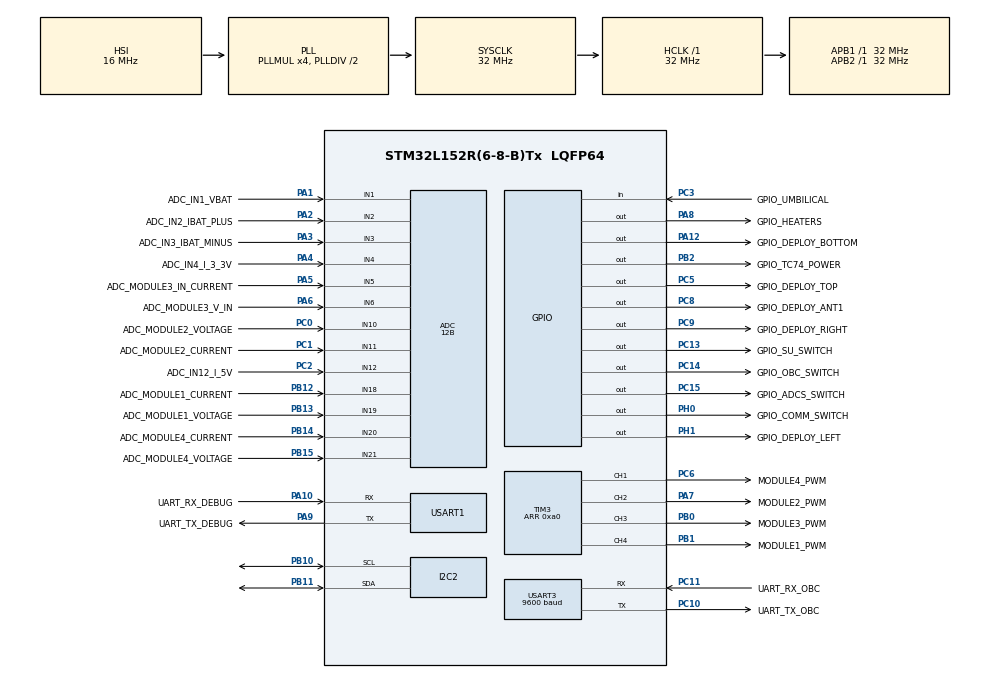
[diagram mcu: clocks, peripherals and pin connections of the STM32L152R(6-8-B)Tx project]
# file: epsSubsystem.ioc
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ADC.Channel-18\#ChannelRegularConversion=ADC_CHANNEL_11
ADC.Channel-19\#ChannelRegularConversion=ADC_CHANNEL_10
ADC.Channel-20\#ChannelRegularConversion=ADC_CHANNEL_5
ADC.Channel-21\#ChannelRegularConversion=ADC_CHANNEL_6
ADC.Channel-22\#ChannelRegularConversion=ADC_CHANNEL_20
ADC.Channel-23\#ChannelRegularConversion=ADC_CHANNEL_21
ADC.Channel-24\#ChannelRegularConversion=ADC_CHANNEL_1
ADC.Channel-25\#ChannelRegularConversion=ADC_CHANNEL_2
ADC.Channel-26\#ChannelRegularConversion=ADC_CHANNEL_3
ADC.Channel-27\#ChannelRegularConversion=ADC_CHANNEL_4
ADC.Channel-28\#ChannelRegularConversion=ADC_CHANNEL_12
ADC.Channel-29\#ChannelRegularConversion=ADC_CHANNEL_TEMPSENSOR
ADC.Channel-4\#ChannelRegularConversion=ADC_CHANNEL_18
ADC.Channel-5\#ChannelRegularConversion=ADC_CHANNEL_19
ADC.ClockPrescaler=ADC_CLOCK_ASYNC_DIV1
ADC.ContinuousConvMode=ENABLE
ADC.DMAContinuousRequests=ENABLE
ADC.DataAlign=ADC_DATAALIGN_RIGHT
ADC.DiscontinuousConvMode=DISABLE
ADC.EOCSelection=ADC_EOC_SINGLE_CONV
ADC.EnableAnalogWatchDog=false
ADC.ExternalTrigConvEdge=ADC_EXTERNALTRIGCONVEDGE_NONE
ADC.InjNumberOfConversion=0
ADC.LowPowerAutoPowerOff=ADC_AUTOPOWEROFF_DISABLE
ADC.LowPowerAutoWait=ADC_AUTOWAIT_DISABLE
ADC.NbrOfConversion=14
ADC.NbrOfConversionFlag=1
ADC.Rank-18\#ChannelRegularConversion=3
ADC.Rank-19\#ChannelRegularConversion=4
ADC.Rank-20\#ChannelRegularConversion=5
ADC.Rank-21\#ChannelRegularConversion=6
ADC.Rank-22\#ChannelRegularConversion=7
ADC.Rank-23\#ChannelRegularConversion=8
ADC.Rank-24\#ChannelRegularConversion=9
ADC.Rank-25\#ChannelRegularConversion=10
ADC.Rank-26\#ChannelRegularConversion=11
ADC.Rank-27\#ChannelRegularConversion=12
ADC.Rank-28\#ChannelRegularConversion=13
ADC.Rank-29\#ChannelRegularConversion=14
ADC.Rank-4\#ChannelRegularConversion=1
ADC.Rank-5\#ChannelRegularConversion=2
ADC.Resolution=ADC_RESOLUTION_12B
ADC.SamplingTime-18\#ChannelRegularConversion=ADC_SAMPLETIME_4CYCLES
ADC.SamplingTime-19\#ChannelRegularConversion=ADC_SAMPLETIME_4CYCLES
ADC.SamplingTime-20\#ChannelRegularConversion=ADC_SAMPLETIME_4CYCLES
ADC.SamplingTime-21\#ChannelRegularConversion=ADC_SAMPLETIME_4CYCLES
ADC.SamplingTime-22\#ChannelRegularConversion=ADC_SAMPLETIME_4CYCLES
ADC.SamplingTime-23\#ChannelRegularConversion=ADC_SAMPLETIME_4CYCLES
ADC.SamplingTime-24\#ChannelRegularConversion=ADC_SAMPLETIME_4CYCLES
ADC.SamplingTime-25\#ChannelRegularConversion=ADC_SAMPLETIME_4CYCLES
ADC.SamplingTime-26\#ChannelRegularConversion=ADC_SAMPLETIME_4CYCLES
ADC.SamplingTime-27\#ChannelRegularConversion=ADC_SAMPLETIME_4CYCLES
ADC.SamplingTime-28\#ChannelRegularConversion=ADC_SAMPLETIME_4CYCLES
ADC.SamplingTime-29\#ChannelRegularConversion=ADC_SAMPLETIME_4CYCLES
ADC.SamplingTime-4\#ChannelRegularConversion=ADC_SAMPLETIME_4CYCLES
ADC.SamplingTime-5\#ChannelRegularConversion=ADC_SAMPLETIME_4CYCLES
ADC.ScanConvMode=ADC_SCAN_ENABLE
Dma.ADC.0.Direction=DMA_PERIPH_TO_MEMORY
Dma.ADC.0.Instance=DMA1_Channel1
Dma.ADC.0.MemDataAlignment=DMA_MDATAALIGN_WORD
Dma.ADC.0.MemInc=DMA_MINC_ENABLE
Dma.ADC.0.Mode=DMA_CIRCULAR
Dma.ADC.0.PeriphDataAlignment=DMA_PDATAALIGN_WORD
Dma.ADC.0.PeriphInc=DMA_PINC_DISABLE
Dma.ADC.0.Priority=DMA_PRIORITY_HIGH
Dma.Request0=ADC
Dma.Request1=USART3_RX
Dma.Request2=USART3_TX
Dma.Request3=USART1_RX
Dma.Request4=USART1_TX
Dma.USART1_RX.3.Direction=DMA_PERIPH_TO_MEMORY
Dma.USART1_RX.3.Instance=DMA1_Channel5
Dma.USART1_RX.3.MemDataAlignment=DMA_MDATAALIGN_BYTE
Dma.USART1_RX.3.MemInc=DMA_MINC_ENABLE
Dma.USART1_RX.3.Mode=DMA_NORMAL
Dma.USART1_RX.3.PeriphDataAlignment=DMA_PDATAALIGN_BYTE
Dma.USART1_RX.3.PeriphInc=DMA_PINC_DISABLE
Dma.USART1_RX.3.Priority=DMA_PRIORITY_LOW
Dma.USART1_TX.4.Direction=DMA_MEMORY_TO_PERIPH
Dma.USART1_TX.4.Instance=DMA1_Channel4
Dma.USART1_TX.4.MemDataAlignment=DMA_MDATAALIGN_BYTE
Dma.USART1_TX.4.MemInc=DMA_MINC_ENABLE
Dma.USART1_TX.4.Mode=DMA_NORMAL
Dma.USART1_TX.4.PeriphDataAlignment=DMA_PDATAALIGN_BYTE
Dma.USART1_TX.4.PeriphInc=DMA_PINC_DISABLE
Dma.USART1_TX.4.Priority=DMA_PRIORITY_LOW
Dma.USART3_RX.1.Direction=DMA_PERIPH_TO_MEMORY
Dma.USART3_RX.1.Instance=DMA1_Channel3
Dma.USART3_RX.1.MemDataAlignment=DMA_MDATAALIGN_BYTE
Dma.USART3_RX.1.MemInc=DMA_MINC_ENABLE
Dma.USART3_RX.1.Mode=DMA_NORMAL
Dma.USART3_RX.1.PeriphDataAlignment=DMA_PDATAALIGN_BYTE
Dma.USART3_RX.1.PeriphInc=DMA_PINC_DISABLE
Dma.USART3_RX.1.Priority=DMA_PRIORITY_LOW
Dma.USART3_TX.2.Direction=DMA_MEMORY_TO_PERIPH
Dma.USART3_TX.2.Instance=DMA1_Channel2
Dma.USART3_TX.2.MemDataAlignment=DMA_MDATAALIGN_BYTE
Dma.USART3_TX.2.MemInc=DMA_MINC_ENABLE
Dma.USART3_TX.2.Mode=DMA_NORMAL
Dma.USART3_TX.2.PeriphDataAlignment=DMA_PDATAALIGN_BYTE
Dma.USART3_TX.2.PeriphInc=DMA_PINC_DISABLE
Dma.USART3_TX.2.Priority=DMA_PRIORITY_LOW
IWDG.Prescaler=IWDG_PRESCALER_4
IWDG.Reload=1364
Mcu.Family=STM32L1
Mcu.Name=STM32L152R(6-8-B)Tx
Mcu.Package=LQFP64
NVIC.ADC1_IRQn=true\:0\:0\:false\:false\:true
NVIC.DMA1_Channel1_IRQn=true\:0\:0\:false\:false\:true
NVIC.DMA1_Channel2_IRQn=true\:0\:0\:false\:false\:true
NVIC.DMA1_Channel3_IRQn=true\:0\:0\:false\:false\:true
NVIC.DMA1_Channel4_IRQn=true\:0\:0\:false\:false\:true
NVIC.DMA1_Channel5_IRQn=true\:0\:0\:false\:false\:true
NVIC.PriorityGroup=NVIC_PRIORITYGROUP_4
NVIC.TIM6_IRQn=true\:0\:0\:false\:false\:true
NVIC.USART1_IRQn=true\:0\:0\:false\:false\:true
NVIC.USART3_IRQn=true\:0\:0\:false\:false\:true
PA1.GPIO_Label=ADC_IN1_VBAT
PA1.Mode=IN1
PA1.Signal=ADC_IN1
PA10.GPIO_Label=UART_RX_DEBUG
PA10.Mode=Asynchronous
PA10.Signal=USART1_RX
PA12.GPIO_Label=GPIO_DEPLOY_BOTTOM
PA12.Signal=GPIO_Output
PA13.Mode=Trace-Asynchronous_SW
PA13.Signal=SYS_JTMS-SWDIO
PA14.Mode=Trace-Asynchronous_SW
PA14.Signal=SYS_JTCK-SWCLK
PA2.GPIO_Label=ADC_IN2_IBAT_PLUS
PA2.Mode=IN2
PA2.Signal=ADC_IN2
PA3.GPIO_Label=ADC_IN3_IBAT_MINUS
PA3.Mode=IN3
PA3.Signal=ADC_IN3
PA4.GPIO_Label=ADC_IN4_I_3_3V
PA4.Mode=IN4
PA4.Signal=ADC_IN4
PA5.GPIO_Label=ADC_MODULE3_IN_CURRENT
PA5.Mode=IN5
PA5.Signal=ADC_IN5
PA6.GPIO_Label=ADC_MODULE3_V_IN
PA6.Mode=IN6
PA6.Signal=ADC_IN6
PA7.GPIO_Label=MODULE2_PWM
PA7.Signal=S_TIM3_CH2
PA8.GPIO_Label=GPIO_HEATERS
PA8.GPIO_PuPd=GPIO_PULLDOWN
PA8.Signal=GPIO_Output
PA9.GPIO_Label=UART_TX_DEBUG
PA9.Mode=Asynchronous
PA9.Signal=USART1_TX
PB0.GPIO_Label=MODULE3_PWM
PB0.Signal=S_TIM3_CH3
PB1.GPIO_Label=MODULE1_PWM
PB1.Signal=S_TIM3_CH4
PB10.GPIO_PuPdOD=GPIO_NOPULL
PB10.GPIO_Speed=GPIO_SPEED_FREQ_LOW
PB10.Mode=I2C
PB10.Signal=I2C2_SCL
PB11.GPIO_PuPdOD=GPIO_NOPULL
PB11.GPIO_Speed=GPIO_SPEED_FREQ_LOW
PB11.Mode=I2C
PB11.Signal=I2C2_SDA
PB12.GPIO_Label=ADC_MODULE1_CURRENT
PB12.Mode=IN18
PB12.Signal=ADC_IN18
PB13.GPIO_Label=ADC_MODULE1_VOLTAGE
PB13.Mode=IN19
PB13.Signal=ADC_IN19
PB14.GPIO_Label=ADC_MODULE4_CURRENT
PB14.Mode=IN20
PB14.Signal=ADC_IN20
PB15.GPIO_Label=ADC_MODULE4_VOLTAGE
PB15.Mode=IN21
PB15.Signal=ADC_IN21
PB2.GPIO_Label=GPIO_TC74_POWER
PB2.Signal=GPIO_Output
PB3.Mode=Trace-Asynchronous_SW
PB3.Signal=SYS_JTDO-TRACESWO
PC0.GPIO_Label=ADC_MODULE2_VOLTAGE
PC0.Mode=IN10
PC0.Signal=ADC_IN10
PC1.GPIO_Label=ADC_MODULE2_CURRENT
PC1.Mode=IN11
PC1.Signal=ADC_IN11
PC10.GPIO_Label=UART_TX_OBC
PC10.Mode=Asynchronous
PC10.Signal=USART3_TX
PC11.GPIO_Label=UART_RX_OBC
PC11.Mode=Asynchronous
PC11.Signal=USART3_RX
PC13-WKUP2.GPIO_Label=GPIO_SU_SWITCH
PC13-WKUP2.Signal=GPIO_Output
PC14-OSC32_IN.GPIO_Label=GPIO_OBC_SWITCH
PC14-OSC32_IN.Signal=GPIO_Output
PC15-OSC32_OUT.GPIO_Label=GPIO_ADCS_SWITCH
PC15-OSC32_OUT.Signal=GPIO_Output
PC2.GPIO_Label=ADC_IN12_I_5V
PC2.Mode=IN12
PC2.Signal=ADC_IN12
PC3.GPIO_Label=GPIO_UMBILICAL
PC3.Signal=GPIO_Input
PC5.GPIO_Label=GPIO_DEPLOY_TOP
PC5.Signal=GPIO_Output
PC6.GPIO_Label=MODULE4_PWM
PC6.Signal=S_TIM3_CH1
PC8.GPIO_Label=GPIO_DEPLOY_ANT1
PC8.Signal=GPIO_Output
PC9.GPIO_Label=GPIO_DEPLOY_RIGHT
PC9.Signal=GPIO_Output
PH0-OSC_IN.GPIO_Label=GPIO_COMM_SWITCH
PH0-OSC_IN.Signal=GPIO_Output
PH1-OSC_OUT.GPIO_Label=GPIO_DEPLOY_LEFT
PH1-OSC_OUT.Signal=GPIO_Output
ProjectManager.HeapSize=0x400
ProjectManager.StackSize=0x200
ProjectManager.TargetToolchain=SW4STM32
RCC.AHBFreq_Value=32000000
RCC.APB1Freq_Value=32000000
RCC.APB1TimFreq_Value=32000000
RCC.APB2Freq_Value=32000000
RCC.APB2TimFreq_Value=32000000
RCC.HCLKFreq_Value=32000000
RCC.HSE_VALUE=24000000
RCC.HSI_VALUE=16000000
RCC.LSE_VALUE=32768
RCC.MSI_VALUE=2097000
RCC.PLLMUL=RCC_PLL_MUL4
RCC.SYSCLKFreq_VALUE=32000000
RCC.SYSCLKSource=RCC_SYSCLKSOURCE_PLLCLK
RCC.USBOutput=32000000
RCC.VCOOutputFreq_Value=64000000
SH.S_TIM3_CH1.0=TIM3_CH1,PWM Generation1 CH1
SH.S_TIM3_CH2.0=TIM3_CH2,PWM Generation2 CH2
SH.S_TIM3_CH3.0=TIM3_CH3,PWM Generation3 CH3
SH.S_TIM3_CH4.0=TIM3_CH4,PWM Generation4 CH4
TIM3.Channel-PWM\ Generation2\ CH2=TIM_CHANNEL_2
TIM3.Channel-PWM\ Generation3\ CH3=TIM_CHANNEL_3
TIM3.Channel-PWM\ Generation4\ CH4=TIM_CHANNEL_4
TIM3.OCFastMode_PWM-PWM\ Generation1\ CH1=TIM_OCFAST_ENABLE
TIM3.OCFastMode_PWM-PWM\ Generation2\ CH2=TIM_OCFAST_ENABLE
TIM3.OCFastMode_PWM-PWM\ Generation3\ CH3=TIM_OCFAST_ENABLE
TIM3.OCFastMode_PWM-PWM\ Generation4\ CH4=TIM_OCFAST_ENABLE
TIM3.Period=0xa0
TIM3.Pulse-PWM\ Generation1\ CH1=0x00
TIM3.Pulse-PWM\ Generation2\ CH2=0x00
TIM3.Pulse-PWM\ Generation3\ CH3=0x00
TIM3.Pulse-PWM\ Generation4\ CH4=0x00
TIM6.Period=50000
TIM6.Prescaler=32
USART3.BaudRate=9600
VP_ADC_TempSens_Input.Mode=IN-TempSens
VP_IWDG_VS_IWDG.Mode=IWDG_Activate
VP_TIM6_VS_ClockSourceINT.Mode=Enable_Timer
board=EpsBoardTest

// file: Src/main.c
/**
 ******************************************************************************
 * File Name          : main.c
 * Description        : Main program body
 ******************************************************************************
 *
 * @file    main.c
 * @author  Aris Stathakis
 * @version V1.0
 * @date    27-May-2016
 * @brief   Main body of EPS subsystem module. The MCU system is initialized
 *          from CUBE MX software thus the generated structure is kept as is.
 *
  ******************************************************************************
  */
#include "stm32l1xx_hal.h"

/* USER CODE BEGIN Includes */
#include "eps_configuration.h"
#include "eps_state.h"
#include "eps_power_module.h"
#include "eps_non_volatile_mem_handling.h"
#include "eps_safety.h"
#include "eps_soft_error_handling.h"
#include "eps_debug.h"
#include "eps_bootsequence.h"
#include "eps_obc_wraps.h"
#include "eps_time.h"
#include "sysview.h"
/* USER CODE END Includes */

ADC_HandleTypeDef hadc;
DMA_HandleTypeDef hdma_adc;

I2C_HandleTypeDef hi2c2;

IWDG_HandleTypeDef hiwdg;

TIM_HandleTypeDef htim3;
TIM_HandleTypeDef htim6;

UART_HandleTypeDef huart1;
UART_HandleTypeDef huart3;
DMA_HandleTypeDef hdma_usart1_rx;
DMA_HandleTypeDef hdma_usart1_tx;
DMA_HandleTypeDef hdma_usart3_rx;
DMA_HandleTypeDef hdma_usart3_tx;

/* USER CODE BEGIN PV */
/* Private variables ---------------------------------------------------------*/
EPS_State eps_board_state;/*global variable that stores the state info of the eps subsystem at any given point in time.*/
EPS_PowerModule power_module_top, power_module_bottom, power_module_left, power_module_right;/*global variables containing the state of four mppt solar power modules.*/
uint8_t uart_temp[200];/* uart buffer for obc communication.*/
/* USER CODE END PV */

void SystemClock_Config(void);
static void MX_GPIO_Init(void);
static void MX_DMA_Init(void);
static void MX_ADC_Init(void);
static void MX_TIM3_Init(void);
static void MX_I2C2_Init(void);
static void MX_USART1_UART_Init(void);
static void MX_USART3_UART_Init(void);
static void MX_TIM6_Init(void);
static void MX_IWDG_Init(void);

void HAL_TIM_MspPostInit(TIM_HandleTypeDef *htim);

/* USER CODE BEGIN PFP */
/* Private function prototypes -----------------------------------------------*/

/* USER CODE END PFP */

int main(void)
{

	/* MCU Configuration----------------------------------------------------------*/

	/* Reset of all peripherals, Initializes the Flash interface and the Systick. */
	HAL_Init();

	/* Configure the system clock */
	SystemClock_Config();

	/* Initialize all configured peripherals */
	MX_GPIO_Init();
	MX_DMA_Init();
	MX_ADC_Init();
	MX_TIM3_Init();
	MX_I2C2_Init();
	MX_USART1_UART_Init();
	MX_USART3_UART_Init();
	MX_TIM6_Init();
	MX_IWDG_Init();

	/* USER CODE BEGIN 2 */
	/*this is used only once to arm the satellite - this should by no means stay in the code.*/
	//EPS_set_flash_memory_initial_values();

	/*start watchdog*/
	HAL_IWDG_Start(&hiwdg);

	/*This will be powered up in get_battery_pack_measurement - good to reset tc74 when reseting the whole system*/
	EPS_set_rail_switch(TEMP_SENSOR, EPS_SWITCH_RAIL_OFF, &eps_board_state);

	/*umbilical check */
	error_status = EPS_bootseq_umbilical_check(&eps_board_state);

	/*power up all rails */
	error_status = EPS_bootseq_poweron_all_rails(&eps_board_state);

	/*obc communication initialization*/
	error_status = EPS_obc_communication_init();

	/* USER CODE END 2 */

	/* Infinite loop */
	/* USER CODE BEGIN WHILE */

	/*load eps limits from memory*/
	EPS_safety_limits eps_limits;
	error_status = EPS_load_safety_limits_from_memory(&eps_limits);

	/* start normal operation mode */

	/*explicitly turn off the battery heater element*/
	EPS_set_control_switch(BATTERY_HEATERS, EPS_SWITCH_CONTROL_OFF, &eps_board_state);

	/* initialize eps module state. */
	error_status = EPS_state_init(&eps_board_state);

	/* initialize all power modules */
	error_status = EPS_PowerModule_init_ALL(&power_module_top, &power_module_bottom, &power_module_left, &power_module_right);

	/*start main loop watchdog*/
	IWDG_change_reset_time(&hiwdg, IWDG_PRESCALER_4, 1900);/*205.409msec*/

	/*kick timer interrupt for timed threads.*/
	error_status = kick_TIM6_timed_interrupt(TIMED_EVENT_PERIOD);

	SEGGER_SYSVIEW_Conf();
	sysview_init();
	while (1)
	{
		/* USER CODE END WHILE */

		/* USER CODE BEGIN 3 */

		error_status = EPS_SOFT_ERROR_WHILE_LOOP_TOP;
		uint32_t time = HAL_sys_GetTick();
		pkt_pool_IDLE(time);
		queue_IDLE(OBC_APP_ID);

		/*service timed thread every TIMED_EVENT_PERIOD microseconds*/
		if(EPS_event_period_status==TIMED_EVENT_NOT_SERVICED){

			/*mppt update for all power modules*/

			/*top power module */
			error_status = EPS_SOFT_ERROR_MPPT_UPDATE_TOP;
			EPS_update_power_module_state(&power_module_top);
			EPS_PowerModule_mppt_update_pwm(&power_module_top);
			EPS_PowerModule_mppt_apply_pwm(&power_module_top);
			/*bottom power module */
			error_status = EPS_SOFT_ERROR_MPPT_UPDATE_BOTTOM;
			EPS_update_power_module_state(&power_module_bottom);
			EPS_PowerModule_mppt_update_pwm(&power_module_bottom);
			EPS_PowerModule_mppt_apply_pwm(&power_module_bottom);
			/*left power module */
			error_status = EPS_SOFT_ERROR_MPPT_UPDATE_LEFT;
			EPS_update_power_module_state(&power_module_left);
			EPS_PowerModule_mppt_update_pwm(&power_module_left);
			EPS_PowerModule_mppt_apply_pwm(&power_module_left);
			/*right power module */
			error_status = EPS_SOFT_ERROR_MPPT_UPDATE_RIGHT;
			EPS_update_power_module_state(&power_module_right);
			EPS_PowerModule_mppt_update_pwm(&power_module_right);
			EPS_PowerModule_mppt_apply_pwm(&power_module_right);

			error_status = EPS_SOFT_ERROR_OK;

			/*eps state update*/
			error_status = EPS_update_state( &eps_board_state, &hadc, &hi2c2);

			/*check for limit safety issues */
			error_status = EPS_perform_safety_checks(&eps_board_state, &eps_limits);

			/*reset event period status so as to be set into the timer interrupt after TIMED_EVENT_PERIOD msec.*/
			EPS_event_period_status = TIMED_EVENT_SERVICED;
			/* resfresh watchdog*/
			HAL_IWDG_Refresh(&hiwdg);

			error_status = EPS_SOFT_ERROR_TIMED_EVENT_END;

		}

		/* handle OBC packets */
		error_status = EPS_obc_communication_service();

		/*if obc uart tx is not busy, put cpu to sleep WFI */
		HAL_UART_StateTypeDef obc_communication_uart_status = HAL_UART_GetState(&huart3);
		if (!((obc_communication_uart_status == HAL_UART_STATE_BUSY)
				|| (obc_communication_uart_status == HAL_UART_STATE_BUSY_TX)
				|| (obc_communication_uart_status == HAL_UART_STATE_BUSY_TX_RX))) {

			error_status = EPS_SOFT_ERROR_READY_TO_SLEEP;
			/*kill systick and sleep with WaitForInterupt with timer + UART peripherals on*/
			HAL_SuspendTick();
			/* Enter Sleep Mode , wake up is done once Key push button is pressed */
			HAL_PWR_EnterSLEEPMode(PWR_MAINREGULATOR_ON, PWR_SLEEPENTRY_WFI);
			/* Resume Tick interrupt if disabled prior to sleep mode entry*/
			HAL_ResumeTick();
			error_status = EPS_SOFT_ERROR_AWAKE_FROM_SLEEP;
		}

	}
	/* USER CODE END 3 */

}

/** System Clock Configuration
*/
void SystemClock_Config(void)
{

  RCC_OscInitTypeDef RCC_OscInitStruct;
  RCC_ClkInitTypeDef RCC_ClkInitStruct;

  __HAL_RCC_PWR_CLK_ENABLE();

  __HAL_PWR_VOLTAGESCALING_CONFIG(PWR_REGULATOR_VOLTAGE_SCALE1);

  RCC_OscInitStruct.OscillatorType = RCC_OSCILLATORTYPE_HSI|RCC_OSCILLATORTYPE_LSI;
  RCC_OscInitStruct.HSIState = RCC_HSI_ON;
  RCC_OscInitStruct.HSICalibrationValue = 16;
  RCC_OscInitStruct.LSIState = RCC_LSI_ON;
  RCC_OscInitStruct.PLL.PLLState = RCC_PLL_ON;
  RCC_OscInitStruct.PLL.PLLSource = RCC_PLLSOURCE_HSI;
  RCC_OscInitStruct.PLL.PLLMUL = RCC_PLL_MUL4;
  RCC_OscInitStruct.PLL.PLLDIV = RCC_PLL_DIV2;
  HAL_RCC_OscConfig(&RCC_OscInitStruct);

  RCC_ClkInitStruct.ClockType = RCC_CLOCKTYPE_HCLK|RCC_CLOCKTYPE_SYSCLK
                              |RCC_CLOCKTYPE_PCLK1|RCC_CLOCKTYPE_PCLK2;
  RCC_ClkInitStruct.SYSCLKSource = RCC_SYSCLKSOURCE_PLLCLK;
  RCC_ClkInitStruct.AHBCLKDivider = RCC_SYSCLK_DIV1;
  RCC_ClkInitStruct.APB1CLKDivider = RCC_HCLK_DIV1;
  RCC_ClkInitStruct.APB2CLKDivider = RCC_HCLK_DIV1;
  HAL_RCC_ClockConfig(&RCC_ClkInitStruct, FLASH_LATENCY_1);

  HAL_SYSTICK_Config(HAL_RCC_GetHCLKFreq()/1000);

  HAL_SYSTICK_CLKSourceConfig(SYSTICK_CLKSOURCE_HCLK);

  /* SysTick_IRQn interrupt configuration */
  HAL_NVIC_SetPriority(SysTick_IRQn, 0, 0);
}

/* ADC init function */
void MX_ADC_Init(void)
{

  ADC_ChannelConfTypeDef sConfig;

    /**Configure the global features of the ADC (Clock, Resolution, Data Alignment and number of conversion)
    */
  hadc.Instance = ADC1;
  hadc.Init.ClockPrescaler = ADC_CLOCK_ASYNC_DIV1;
  hadc.Init.Resolution = ADC_RESOLUTION_12B;
  hadc.Init.DataAlign = ADC_DATAALIGN_RIGHT;
  hadc.Init.ScanConvMode = ADC_SCAN_ENABLE;
  hadc.Init.EOCSelection = ADC_EOC_SINGLE_CONV;
  hadc.Init.LowPowerAutoWait = ADC_AUTOWAIT_DISABLE;
  hadc.Init.LowPowerAutoPowerOff = ADC_AUTOPOWEROFF_DISABLE;
  hadc.Init.ChannelsBank = ADC_CHANNELS_BANK_A;
  hadc.Init.ContinuousConvMode = ENABLE;
  hadc.Init.NbrOfConversion = 14;
  hadc.Init.DiscontinuousConvMode = DISABLE;
  hadc.Init.ExternalTrigConv = ADC_SOFTWARE_START;
  hadc.Init.ExternalTrigConvEdge = ADC_EXTERNALTRIGCONVEDGE_NONE;
  hadc.Init.DMAContinuousRequests = ENABLE;
  HAL_ADC_Init(&hadc);

    /**Configure for the selected ADC regular channel its corresponding rank in the sequencer and its sample time.
    */
  sConfig.Channel = ADC_CHANNEL_18;
  sConfig.Rank = 1;
  sConfig.SamplingTime = ADC_SAMPLETIME_4CYCLES;
  HAL_ADC_ConfigChannel(&hadc, &sConfig);

    /**Configure for the selected ADC regular channel its corresponding rank in the sequencer and its sample time.
    */
  sConfig.Channel = ADC_CHANNEL_19;
  sConfig.Rank = 2;
  HAL_ADC_ConfigChannel(&hadc, &sConfig);

    /**Configure for the selected ADC regular channel its corresponding rank in the sequencer and its sample time.
    */
  sConfig.Channel = ADC_CHANNEL_11;
  sConfig.Rank = 3;
  HAL_ADC_ConfigChannel(&hadc, &sConfig);

    /**Configure for the selected ADC regular channel its corresponding rank in the sequencer and its sample time.
    */
  sConfig.Channel = ADC_CHANNEL_10;
  sConfig.Rank = 4;
  HAL_ADC_ConfigChannel(&hadc, &sConfig);

    /**Configure for the selected ADC regular channel its corresponding rank in the sequencer and its sample time.
    */
  sConfig.Channel = ADC_CHANNEL_5;
  sConfig.Rank = 5;
  HAL_ADC_ConfigChannel(&hadc, &sConfig);

    /**Configure for the selected ADC regular channel its corresponding rank in the sequencer and its sample time.
    */
  sConfig.Channel = ADC_CHANNEL_6;
  sConfig.Rank = 6;
  HAL_ADC_ConfigChannel(&hadc, &sConfig);

    /**Configure for the selected ADC regular channel its corresponding rank in the sequencer and its sample time.
    */
  sConfig.Channel = ADC_CHANNEL_20;
  sConfig.Rank = 7;
  HAL_ADC_ConfigChannel(&hadc, &sConfig);

    /**Configure for the selected ADC regular channel its corresponding rank in the sequencer and its sample time.
    */
  sConfig.Channel = ADC_CHANNEL_21;
  sConfig.Rank = 8;
  HAL_ADC_ConfigChannel(&hadc, &sConfig);

    /**Configure for the selected ADC regular channel its corresponding rank in the sequencer and its sample time.
    */
  sConfig.Channel = ADC_CHANNEL_1;
  sConfig.Rank = 9;
  HAL_ADC_ConfigChannel(&hadc, &sConfig);

    /**Configure for the selected ADC regular channel its corresponding rank in the sequencer and its sample time.
    */
  sConfig.Channel = ADC_CHANNEL_2;
  sConfig.Rank = 10;
  HAL_ADC_ConfigChannel(&hadc, &sConfig);

    /**Configure for the selected ADC regular channel its corresponding rank in the sequencer and its sample time.
    */
  sConfig.Channel = ADC_CHANNEL_3;
  sConfig.Rank = 11;
  HAL_ADC_ConfigChannel(&hadc, &sConfig);

    /**Configure for the selected ADC regular channel its corresponding rank in the sequencer and its sample time.
    */
  sConfig.Channel = ADC_CHANNEL_4;
  sConfig.Rank = 12;
  HAL_ADC_ConfigChannel(&hadc, &sConfig);

    /**Configure for the selected ADC regular channel its corresponding rank in the sequencer and its sample time.
    */
  sConfig.Channel = ADC_CHANNEL_12;
  sConfig.Rank = 13;
  HAL_ADC_ConfigChannel(&hadc, &sConfig);

    /**Configure for the selected ADC regular channel its corresponding rank in the sequencer and its sample time.
    */
  sConfig.Channel = ADC_CHANNEL_TEMPSENSOR;
  sConfig.Rank = 14;
  HAL_ADC_ConfigChannel(&hadc, &sConfig);

}

/* I2C2 init function */
void MX_I2C2_Init(void)
{

  hi2c2.Instance = I2C2;
  hi2c2.Init.ClockSpeed = 100000;
  hi2c2.Init.DutyCycle = I2C_DUTYCYCLE_2;
  hi2c2.Init.OwnAddress1 = 0;
  hi2c2.Init.AddressingMode = I2C_ADDRESSINGMODE_7BIT;
  hi2c2.Init.DualAddressMode = I2C_DUALADDRESS_DISABLE;
  hi2c2.Init.OwnAddress2 = 0;
  hi2c2.Init.GeneralCallMode = I2C_GENERALCALL_DISABLE;
  hi2c2.Init.NoStretchMode = I2C_NOSTRETCH_DISABLE;
  HAL_I2C_Init(&hi2c2);

}

/* IWDG init function */
void MX_IWDG_Init(void)
{

  hiwdg.Instance = IWDG;
  hiwdg.Init.Prescaler = IWDG_PRESCALER_256;
  hiwdg.Init.Reload = 4095;/* 4095*(1/37Khz)/Prescaler = time to watchdog = 28.33 sec*/
  HAL_IWDG_Init(&hiwdg);

}

/* TIM3 init function */
void MX_TIM3_Init(void)
{

  TIM_MasterConfigTypeDef sMasterConfig;
  TIM_OC_InitTypeDef sConfigOC;

  htim3.Instance = TIM3;
  htim3.Init.Prescaler = 0;
  htim3.Init.CounterMode = TIM_COUNTERMODE_UP;
  htim3.Init.Period = 0xa0;
  htim3.Init.ClockDivision = TIM_CLOCKDIVISION_DIV1;
  HAL_TIM_PWM_Init(&htim3);

  sMasterConfig.MasterOutputTrigger = TIM_TRGO_RESET;
  sMasterConfig.MasterSlaveMode = TIM_MASTERSLAVEMODE_DISABLE;
  HAL_TIMEx_MasterConfigSynchronization(&htim3, &sMasterConfig);

  sConfigOC.OCMode = TIM_OCMODE_PWM1;
  sConfigOC.Pulse = 0x00;
  sConfigOC.OCPolarity = TIM_OCPOLARITY_HIGH;
  sConfigOC.OCFastMode = TIM_OCFAST_ENABLE;
  HAL_TIM_PWM_ConfigChannel(&htim3, &sConfigOC, TIM_CHANNEL_1);

  HAL_TIM_PWM_ConfigChannel(&htim3, &sConfigOC, TIM_CHANNEL_2);

  HAL_TIM_PWM_ConfigChannel(&htim3, &sConfigOC, TIM_CHANNEL_3);

  HAL_TIM_PWM_ConfigChannel(&htim3, &sConfigOC, TIM_CHANNEL_4);

  HAL_TIM_MspPostInit(&htim3);

}

/* TIM6 init function */
void MX_TIM6_Init(void)
{

  TIM_MasterConfigTypeDef sMasterConfig;

  htim6.Instance = TIM6;
  htim6.Init.Prescaler = 32;
  htim6.Init.CounterMode = TIM_COUNTERMODE_UP;
  htim6.Init.Period = 50000;
  HAL_TIM_Base_Init(&htim6);

  sMasterConfig.MasterOutputTrigger = TIM_TRGO_RESET;
  sMasterConfig.MasterSlaveMode = TIM_MASTERSLAVEMODE_DISABLE;
  HAL_TIMEx_MasterConfigSynchronization(&htim6, &sMasterConfig);

}

/* USART1 init function */
void MX_USART1_UART_Init(void)
{

  huart1.Instance = USART1;
  huart1.Init.BaudRate = 115200;
  huart1.Init.WordLength = UART_WORDLENGTH_8B;
  huart1.Init.StopBits = UART_STOPBITS_1;
  huart1.Init.Parity = UART_PARITY_NONE;
  huart1.Init.Mode = UART_MODE_TX_RX;
  huart1.Init.HwFlowCtl = UART_HWCONTROL_NONE;
  huart1.Init.OverSampling = UART_OVERSAMPLING_16;
  HAL_UART_Init(&huart1);

}

/* USART3 init function */
void MX_USART3_UART_Init(void)
{

  huart3.Instance = USART3;
  huart3.Init.BaudRate = 9600;
  huart3.Init.WordLength = UART_WORDLENGTH_8B;
  huart3.Init.StopBits = UART_STOPBITS_1;
  huart3.Init.Parity = UART_PARITY_NONE;
  huart3.Init.Mode = UART_MODE_TX_RX;
  huart3.Init.HwFlowCtl = UART_HWCONTROL_NONE;
  huart3.Init.OverSampling = UART_OVERSAMPLING_16;
  HAL_UART_Init(&huart3);

}

void MX_DMA_Init(void)
{
  /* DMA controller clock enable */
  __HAL_RCC_DMA1_CLK_ENABLE();

  /* DMA interrupt init */
  /* DMA1_Channel1_IRQn interrupt configuration */
  HAL_NVIC_SetPriority(DMA1_Channel1_IRQn, 0, 0);
  HAL_NVIC_EnableIRQ(DMA1_Channel1_IRQn);
  /* DMA1_Channel2_IRQn interrupt configuration */
  HAL_NVIC_SetPriority(DMA1_Channel2_IRQn, 0, 0);
  HAL_NVIC_EnableIRQ(DMA1_Channel2_IRQn);
  /* DMA1_Channel3_IRQn interrupt configuration */
  HAL_NVIC_SetPriority(DMA1_Channel3_IRQn, 0, 0);
  HAL_NVIC_EnableIRQ(DMA1_Channel3_IRQn);
  /* DMA1_Channel4_IRQn interrupt configuration */
  HAL_NVIC_SetPriority(DMA1_Channel4_IRQn, 0, 0);
  HAL_NVIC_EnableIRQ(DMA1_Channel4_IRQn);
  /* DMA1_Channel5_IRQn interrupt configuration */
  HAL_NVIC_SetPriority(DMA1_Channel5_IRQn, 0, 0);
  HAL_NVIC_EnableIRQ(DMA1_Channel5_IRQn);

}

/** Configure pins as
        * Analog
        * Input
        * Output
        * EVENT_OUT
        * EXTI
*/
void MX_GPIO_Init(void)
{

  GPIO_InitTypeDef GPIO_InitStruct;

  /* GPIO Ports Clock Enable */
  __HAL_RCC_GPIOC_CLK_ENABLE();
  __HAL_RCC_GPIOH_CLK_ENABLE();
  __HAL_RCC_GPIOA_CLK_ENABLE();
  __HAL_RCC_GPIOB_CLK_ENABLE();

  /*Configure GPIO pin Output Level */
  HAL_GPIO_WritePin(GPIOC, GPIO_SU_SWITCH_Pin|GPIO_OBC_SWITCH_Pin|GPIO_ADCS_SWITCH_Pin|GPIO_DEPLOY_TOP_Pin
                          |GPIO_DEPLOY_ANT1_Pin|GPIO_DEPLOY_RIGHT_Pin, GPIO_PIN_RESET);

  /*Configure GPIO pin Output Level */
  HAL_GPIO_WritePin(GPIOH, GPIO_COMM_SWITCH_Pin|GPIO_DEPLOY_LEFT_Pin, GPIO_PIN_RESET);

  /*Configure GPIO pin Output Level */
  HAL_GPIO_WritePin(GPIO_TC74_POWER_GPIO_Port, GPIO_TC74_POWER_Pin, GPIO_PIN_RESET);

  /*Configure GPIO pin Output Level */
  HAL_GPIO_WritePin(GPIOA, GPIO_HEATERS_Pin|GPIO_DEPLOY_BOTTOM_Pin, GPIO_PIN_RESET);

  /*Configure GPIO pins : GPIO_SU_SWITCH_Pin GPIO_OBC_SWITCH_Pin GPIO_ADCS_SWITCH_Pin GPIO_DEPLOY_TOP_Pin
                           GPIO_DEPLOY_ANT1_Pin GPIO_DEPLOY_RIGHT_Pin */
  GPIO_InitStruct.Pin = GPIO_SU_SWITCH_Pin|GPIO_OBC_SWITCH_Pin|GPIO_ADCS_SWITCH_Pin|GPIO_DEPLOY_TOP_Pin
                          |GPIO_DEPLOY_ANT1_Pin|GPIO_DEPLOY_RIGHT_Pin;
  GPIO_InitStruct.Mode = GPIO_MODE_OUTPUT_PP;
  GPIO_InitStruct.Pull = GPIO_NOPULL;
  GPIO_InitStruct.Speed = GPIO_SPEED_FREQ_LOW;
  HAL_GPIO_Init(GPIOC, &GPIO_InitStruct);

  /*Configure GPIO pins : GPIO_COMM_SWITCH_Pin GPIO_DEPLOY_LEFT_Pin */
  GPIO_InitStruct.Pin = GPIO_COMM_SWITCH_Pin|GPIO_DEPLOY_LEFT_Pin;
  GPIO_InitStruct.Mode = GPIO_MODE_OUTPUT_PP;
  GPIO_InitStruct.Pull = GPIO_NOPULL;
  GPIO_InitStruct.Speed = GPIO_SPEED_FREQ_LOW;
  HAL_GPIO_Init(GPIOH, &GPIO_InitStruct);

  /*Configure GPIO pin : GPIO_UMBILICAL_Pin */
  GPIO_InitStruct.Pin = GPIO_UMBILICAL_Pin;
  GPIO_InitStruct.Mode = GPIO_MODE_INPUT;
  GPIO_InitStruct.Pull = GPIO_NOPULL;
  HAL_GPIO_Init(GPIO_UMBILICAL_GPIO_Port, &GPIO_InitStruct);

  /*Configure GPIO pin : GPIO_TC74_POWER_Pin */
  GPIO_InitStruct.Pin = GPIO_TC74_POWER_Pin;
  GPIO_InitStruct.Mode = GPIO_MODE_OUTPUT_PP;
  GPIO_InitStruct.Pull = GPIO_NOPULL;
  GPIO_InitStruct.Speed = GPIO_SPEED_FREQ_LOW;
  HAL_GPIO_Init(GPIO_TC74_POWER_GPIO_Port, &GPIO_InitStruct);

  /*Configure GPIO pin : GPIO_HEATERS_Pin */
  GPIO_InitStruct.Pin = GPIO_HEATERS_Pin;
  GPIO_InitStruct.Mode = GPIO_MODE_OUTPUT_PP;
  GPIO_InitStruct.Pull = GPIO_PULLDOWN;
  GPIO_InitStruct.Speed = GPIO_SPEED_FREQ_LOW;
  HAL_GPIO_Init(GPIO_HEATERS_GPIO_Port, &GPIO_InitStruct);

  /*Configure GPIO pin : GPIO_DEPLOY_BOTTOM_Pin */
  GPIO_InitStruct.Pin = GPIO_DEPLOY_BOTTOM_Pin;
  GPIO_InitStruct.Mode = GPIO_MODE_OUTPUT_PP;
  GPIO_InitStruct.Pull = GPIO_NOPULL;
  GPIO_InitStruct.Speed = GPIO_SPEED_FREQ_LOW;
  HAL_GPIO_Init(GPIO_DEPLOY_BOTTOM_GPIO_Port, &GPIO_InitStruct);

}

/* USER CODE BEGIN 4 */

/**
   * @brief ADC DMA interrupt handler
   * marks the global flag of adc peripheral as a transfer complete.
   * @param file: pointer to adc handle peripheral
   * @retval None
   */
void HAL_ADC_ConvCpltCallback(ADC_HandleTypeDef * hadc) {

	adc_reading_complete = ADC_TRANSFER_COMPLETED;
}

/* USER CODE END 4 */

/************************ (C) COPYRIGHT STMicroelectronics *****END OF FILE****/
